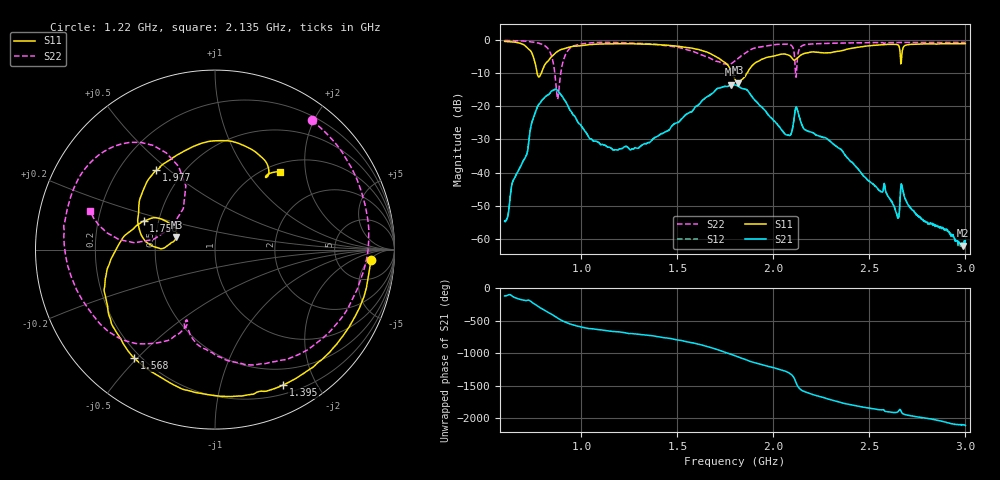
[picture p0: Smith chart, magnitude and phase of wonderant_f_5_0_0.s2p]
#  HZ  S  RI  R  50.00
! Rohde & Schwarz ZVB8 2Ports - Version 2.81 - 1145.1010k08 SN: 100113
! Date: 2016-05-17 22:37:14
! Measurements: S11 S21 S12 S22
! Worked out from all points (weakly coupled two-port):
!   1000 points, 600 MHz to 3 GHz, reference 50 ohm
!   highest |S21| = -13.51 dB at 1.78 GHz (marker M1); lowest = -62.0 dB at 2.986 GHz (marker M2)
!   lowest |S11| = -12.9 dB at 1.813 GHz (marker M3), VSWR 1.58, Z = 32.1 + j4.7 ohm
!   |S11| at or under -10 dB: 769.1 MHz to 791.9 MHz (22.75 MHz wide, 2.91 % of centre); 1.784 GHz to 1.864 GHz (79.55 MHz wide, 4.36 % of centre)
!   |S22| runs from -17.9 to -0.2 dB; largest |S21 - S12| = 0.0016
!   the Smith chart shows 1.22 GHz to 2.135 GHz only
!   S11 on the Smith chart (normalised r, x): 1.22 GHz: 12, -6; 1.395 GHz: 0.30, -1.58; 1.568 GHz: 0.18, -0.49; 1.758 GHz: 0.41, +0.16; 1.977 GHz: 0.36, +0.45; 2.135 GHz: 1.14, +1.46
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6e8  -0.8028 0.4925  -0.000805 -0.00167  -0.000817 -0.00159  -0.944 0.2409
7.009009e8  -0.2372 0.8007  -0.0157 0.000816  -0.0157 0.00105  -0.7123 0.6349
7.873874e8  -0.1187 0.2739  0.059 0.0972  0.0581 0.0971  -0.2451 0.8284
8.498498e8  -0.2673 0.5026  0.1145 -0.1273  0.1149 -0.1267  0.3317 0.3707
8.882883e8  -0.1863 0.6742  -0.0758 -0.1347  -0.0753 -0.135  -0.1908 -0.1666
1.001201e9  0.321 0.7474  -0.027 0.0412  -0.0271 0.0411  -0.4402 0.7438
1.21982e9  0.8693 -0.0566  0.0178 0.016  0.0179 0.0159  0.5415 0.7203
1.395195e9  0.3806 -0.754  0.0323 -0.014  0.0324 -0.0139  0.8407 -0.0695
1.4e9  0.3577 -0.7641  0.0322 -0.0154  0.0322 -0.0153  0.8347 -0.0939
1.568168e9  -0.4506 -0.6039  -0.0346 -0.0735  -0.0344 -0.0736  0.247 -0.6376
1.757958e9  -0.3974 0.1591  0.0153 0.1967  0.0146 0.1967  -0.1614 -0.3935
1.77958e9  -0.292 0.1673  0.0922 0.1899  0.0911 0.1904  -0.1524 -0.4067
1.801201e9  -0.2219 0.1143  0.1607 0.1326  0.1601 0.1334  -0.1784 -0.4477
1.813213e9  -0.2146 0.0696  0.183 0.0882  0.1823 0.0892  -0.2068 -0.4721
1.976577e9  -0.3273 0.4413  -0.0413 -0.0588  -0.041 -0.0589  -0.8088 -0.1275
2.096697e9  0.3003 0.4351  -0.00872 0.0411  -0.00892 0.0411  -0.5607 0.576
2.135135e9  0.3621 0.4334  -0.0138 -0.0663  -0.0134 -0.0661  -0.6953 0.2141
2.2e9  0.6379 0.1425  -0.0395 0.00827  -0.0396 0.00801  -0.5612 0.6554
2.423423e9  0.1968 -0.7296  0.0128 -0.00184  0.0127 -0.00178  0.2963 0.8469
2.601201e9  -0.5807 -0.6223  -0.00106 -0.0041  -0.001 -0.00413  0.7926 0.4371
2.985586e9  -0.6858 0.5414  0.000416 0.000674  0.000462 0.000687  0.5722 -0.7123
3e9  -0.656 0.5762  0.000674 0.000692  0.000558 0.000723  0.5432 -0.7356
